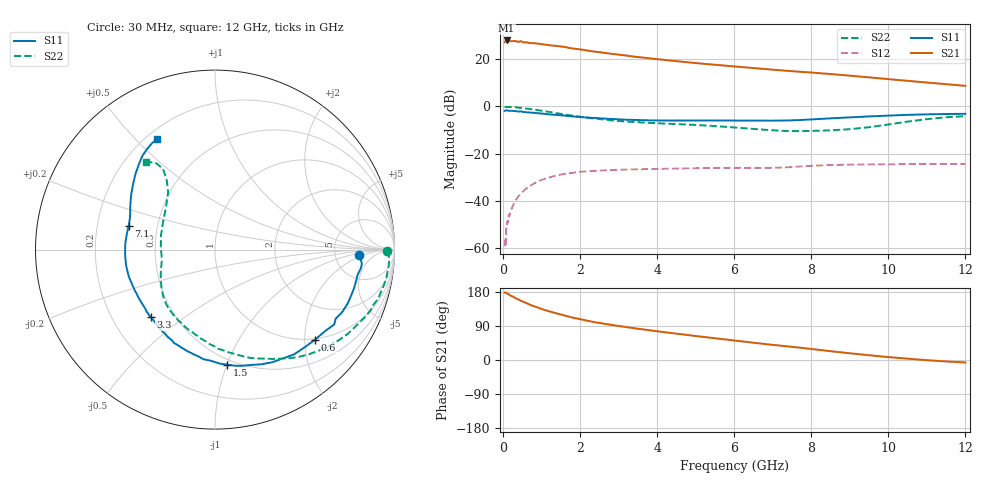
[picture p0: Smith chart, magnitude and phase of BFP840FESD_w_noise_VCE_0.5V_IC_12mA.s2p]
! Infineon Technologies  Discrete & RF Semiconductors
! BFP840FESD
! VCE =  0.5 V,  IC =  12 mA
! Common Emitter S-Parameters:  May 2012
# GHz  S  MA  R  50
!  f  S11  S21  S12  S22
! GHz  MAG  ANG  MAG  ANG  MAG  ANG  MAG  ANG
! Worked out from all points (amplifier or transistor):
!   103 points, 30 MHz to 12 GHz, reference 50 ohm
!   highest |S21| = 27.9 dB at 80 MHz (marker M1)
!   |S21| within 3 dB of that: start of sweep to 1.664 GHz
!   unconditionally stable (mu >= 1): 6.181 GHz to end of sweep
!   at 400 MHz: K = 0.07, MSG = 32.6 dB, |S12| = -37.9 dB
!   at 3.7 GHz: K = 0.61, MSG = 23.5 dB, |S12| = -26.5 dB
!   at 12 GHz: K = 1.27, MAG = 13.4 dB, |S12| = -24.4 dB
!   lowest NFmin = 0.70 dB at 450 MHz
!   S11 on the Smith chart (normalised r, x): 30 MHz: 8.83, -1.60; 600 MHz: 0.98, -2.24; 1.5 GHz: 0.46, -1.00; 3.3 GHz: 0.37, -0.38; 7.1 GHz: 0.34, +0.12; 12 GHz: 0.24, +0.58
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0.03  0.8024 -2.3  22.75 177.9  0.0011 93.2  0.9594 -0.4
0.05  0.8124 -3.8  23.81 178.4  0.0015 83.0  0.9663 -1.6
0.08  0.8215 -6.1  24.81 176.3  0.0026 84.5  0.9705 -3.1
0.13  0.8064 -10.3  23.67 173.3  0.0045 82.4  0.971 -5.9
0.3  0.7974 -22.4  24.2 164.1  0.0097 78.4  0.954 -14.4
0.4  0.7747 -29.8  23.19 159.5  0.0128 74.9  0.9344 -19.2
0.45  0.7845 -32.1  24.08 156.3  0.0141 74.1  0.9312 -21.2
0.5  0.7639 -36.3  22.75 154.3  0.0156 72.1  0.9184 -23.8
0.6  0.75 -42.0  22.57 150.1  0.0184 68.9  0.8953 -28.1
0.8  0.7312 -53.0  21.75 141.6  0.0235 63.6  0.8542 -36.3
1  0.7036 -63.2  20.67 134.4  0.0278 58.0  0.8071 -44.2
1.5  0.6442 -84.1  18.42 119.7  0.0361 46.7  0.6907 -61.9
1.8  0.6142 -96.0  16.75 111.7  0.0393 41.3  0.6349 -71.9
2.1  0.5867 -105.1  15.57 105.4  0.0418 36.4  0.5845 -80.8
2.6  0.5533 -118.5  13.6 95.9  0.0442 31.1  0.5276 -93.2
3.3  0.5192 -133.7  11.53 85.2  0.0463 25.8  0.4711 -107.7
4.1  0.5027 -148.5  9.774 74.5  0.0476 22.2  0.436 -120.4
6.1  0.5005 -179.0  6.889 50.2  0.05 17.4  0.3527 -148.6
7.1  0.499 164.8  5.877 38.8  0.0503 18.6  0.3079 -165.4
8.5  0.5576 147.0  4.827 23.2  0.0573 17.5  0.3112 165.2
10.5  0.6609 127.7  3.47 3.5  0.06 12.9  0.476 124.5
12  0.6952 117.6  2.716 -6.5  0.0603 12.7  0.6195 128.1
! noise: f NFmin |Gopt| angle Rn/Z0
0.45  0.7  0.26  5  0.14
0.9  0.73  0.26  11  0.14
1.5  0.75  0.24  16  0.14
1.9  0.75  0.22  26  0.14
2.4  0.76  0.2  35  0.14
3.5  0.77  0.19  59  0.14
5.5  0.82  0.12  111  0.12
8  0.93  0.12  175  0.12
10  1.06  0.24  -129  0.13
12  1.27  0.41  -111  0.15
